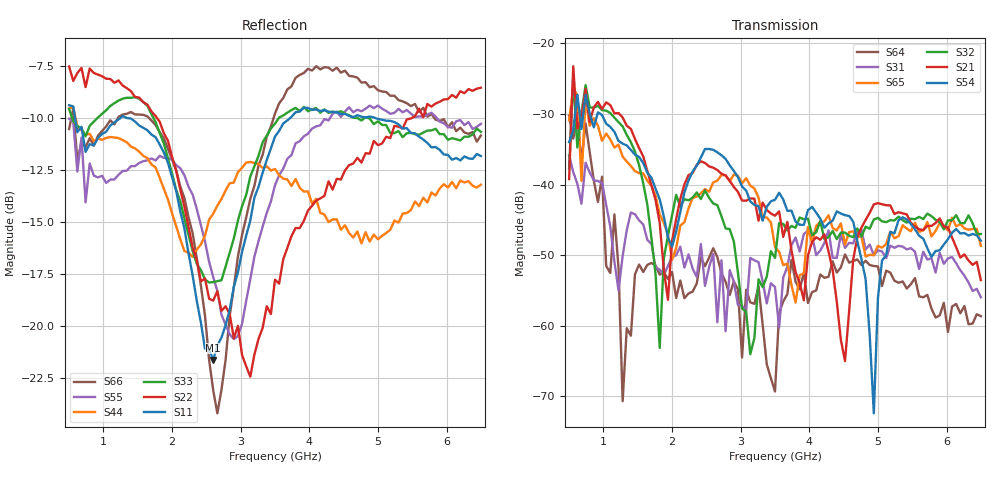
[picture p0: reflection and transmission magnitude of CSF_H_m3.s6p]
!Keysight Technologies,M9804A,MY58100912,A.14.10.03
!Date: Thursday, April 27, 2023 10:28:33
!Correction: S11(C  6-Port  )
!S12(C  6-Port  )
!S13(C  6-Port  )
!S14(C  6-Port  )
!S15(C  6-Port  )
!S16(C  6-Port  )
!S21(C  6-Port  )
!S22(C  6-Port  )
!S23(C  6-Port  )
!S24(C  6-Port  )
!S25(C  6-Port  )
!S26(C  6-Port  )
!S31(C  6-Port  )
!S32(C  6-Port  )
!S33(C  6-Port  )
!S34(C  6-Port  )
!S35(C  6-Port  )
!S36(C  6-Port  )
!S41(C  6-Port  )
!S42(C  6-Port  )
!S43(C  6-Port  )
!S44(C  6-Port  )
!S45(C  6-Port  )
!S46(C  6-Port  )
!S51(C  6-Port  )
!S52(C  6-Port  )
!S53(C  6-Port  )
!S54(C  6-Port  )
!S55(C  6-Port  )
!S56(C  6-Port  )
!S61(C  6-Port  )
!S62(C  6-Port  )
!S63(C  6-Port  )
!S64(C  6-Port  )
!S65(C  6-Port  )
!S66(C  6-Port  )
!S6P File: Measurement: :
# Hz S  RI  R 50
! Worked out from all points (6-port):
!   101 points, 500 MHz to 6.5 GHz, reference 50 ohm
!   strongest paths, dB at 500 MHz, 2 GHz, 3.5 GHz, 5 GHz, 6.5 GHz:
!     S54: -34.0, -48.8, -42.2, -56.1, -48.0
!     S21: -39.2, -48.0, -44.4, -42.6, -53.5
!     S32: -37.7, -44.4, -50.4, -44.7, -47.0
!     S65: -30.9, -50.6, -48.9, -48.7, -48.7
!     S31: -35.9, -50.3, -54.5, -49.3, -56.0
!     S64: -30.2, -52.4, -69.3, -51.6, -58.6
!   lowest |S11| = -21.6 dB at 2.6 GHz (marker M1), VSWR 1.18, Z = 42.6 + j2.04 ohm
!   |S11| at or under -10 dB: 587.8 MHz to 1.24 GHz (652.5 MHz wide, 71.4 % of centre); 1.378 GHz to 3.715 GHz (2.337 GHz wide, 91.8 % of centre); 4.974 GHz to end of sweep
